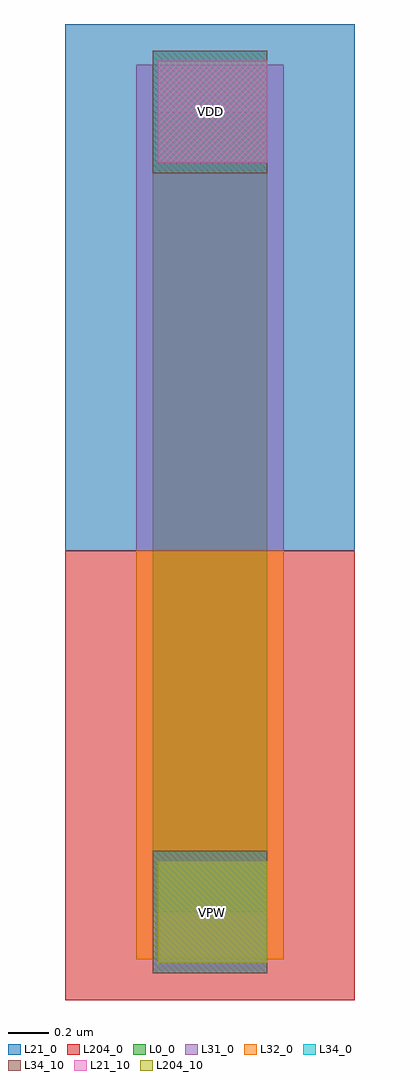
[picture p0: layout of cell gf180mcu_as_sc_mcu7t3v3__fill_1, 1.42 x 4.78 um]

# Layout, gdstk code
import gdstk
lib = gdstk.Library(unit=1e-6, precision=1e-09)
def R(c, l, rs):  # rectangles x0, y0, x1, y1
    for r in rs: c.add(gdstk.rectangle(r[:2], r[2:], *l))
L0_0 = (0, 0)
L21_0 = (21, 0)
L21_10 = (21, 10)
L31_0 = (31, 0)
L32_0 = (32, 0)
L34_0 = (34, 0)
L34_10 = (34, 10)
L204_0 = (204, 0)
L204_10 = (204, 10)

gf180mcu_as_sc_mcu7t3v3_ = lib.new_cell('gf180mcu_as_sc_mcu7t3v3__fill_1')
R(gf180mcu_as_sc_mcu7t3v3_, L0_0, [(0,0,0.56,3.92)])
R(gf180mcu_as_sc_mcu7t3v3_, L21_0, [(-0.43,1.77,0.99,4.35)])
R(gf180mcu_as_sc_mcu7t3v3_, L21_10, [(0.025,3.67,0.56,4.17)])
R(gf180mcu_as_sc_mcu7t3v3_, L31_0, [(-0.08,1.77,0.64,4.15)])
R(gf180mcu_as_sc_mcu7t3v3_, L32_0, [(-0.08,-0.23,0.64,1.77)])
R(gf180mcu_as_sc_mcu7t3v3_, L34_0, [(0,-0.3,0.56,0.3), (0,3.62,0.56,4.22)])
R(gf180mcu_as_sc_mcu7t3v3_, L34_10, [(0,-0.3,0.56,0.3), (0,3.62,0.56,4.22)])
R(gf180mcu_as_sc_mcu7t3v3_, L204_0, [(-0.43,-0.43,0.99,1.77)])
R(gf180mcu_as_sc_mcu7t3v3_, L204_10, [(0.025,-0.25,0.56,0.25)])
gf180mcu_as_sc_mcu7t3v3_.add(gdstk.Label('VDD', (0.28,3.92), layer=34, texttype=10))
gf180mcu_as_sc_mcu7t3v3_.add(gdstk.Label('VNW', (0.292,3.92), layer=21, texttype=10))
gf180mcu_as_sc_mcu7t3v3_.add(gdstk.Label('VPW', (0.292,0), layer=204, texttype=10))
gf180mcu_as_sc_mcu7t3v3_.add(gdstk.Label('VSS', (0.28,0), layer=34, texttype=10))

lib.write_gds('gf180mcu_as_sc_mcu7t3v3__fill_1.gds')
